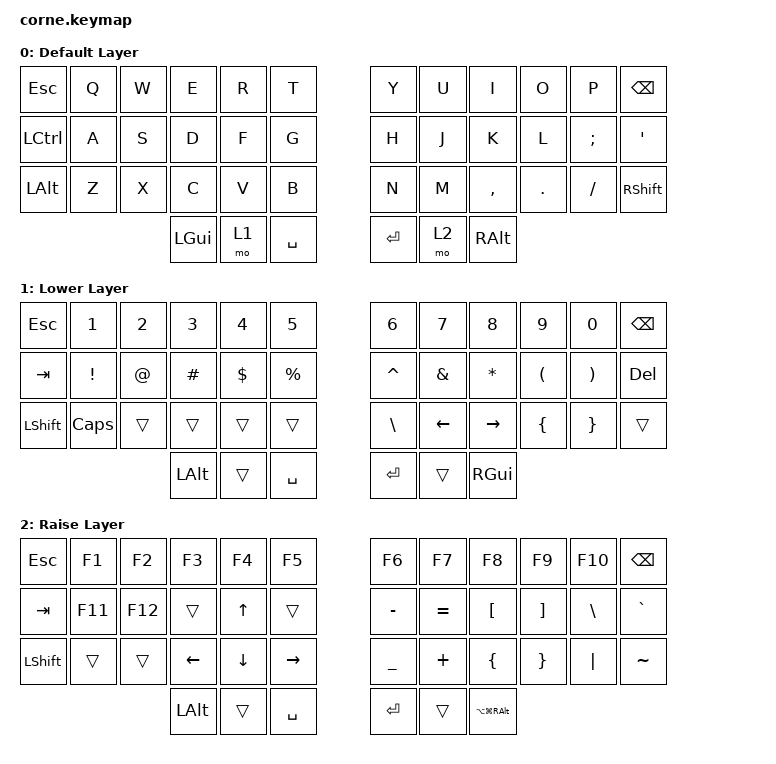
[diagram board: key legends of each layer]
/*
 * Copyright (c) 2020 The ZMK Contributors
 *
 * SPDX-License-Identifier: MIT
 */

#include <behaviors.dtsi>
#include <dt-bindings/zmk/keys.h>

/ {
    keymap {
        compatible = "zmk,keymap";

        default_layer {
            display-name = "Default Layer";

            // -----------------------------------------------------------------------------------------
            // |  TAB |  Q  |  W  |  E  |  R  |  T  |   |  Y  |  U   |  I  |  O  |  P  | BSPC |
            // | CTRL |  A  |  S  |  D  |  F  |  G  |   |  H  |  J   |  K  |  L  |  ;  |  '   |
            // | SHFT |  Z  |  X  |  C  |  V  |  B  |   |  N  |  M   |  ,  |  .  |  /  | ESC  |
            //                    | GUI | LWR | SPC |   | ENT | RSE  | ALT |

            bindings = <
&kp ESCAPE    &kp Q  &kp W  &kp E     &kp R  &kp T        &kp Y    &kp U  &kp I      &kp O    &kp P     &kp BSPC
&kp LCTRL     &kp A  &kp S  &kp D     &kp F  &kp G        &kp H    &kp J  &kp K      &kp L    &kp SEMI  &kp SQT
&kp LEFT_ALT  &kp Z  &kp X  &kp C     &kp V  &kp B        &kp N    &kp M  &kp COMMA  &kp DOT  &kp FSLH  &kp RIGHT_SHIFT
                            &kp LGUI  &mo 1  &kp SPACE    &kp RET  &mo 2  &kp RALT
            >;
        };

        lower_layer {
            display-name = "Lower Layer";

            // -----------------------------------------------------------------------------------------
            // |  TAB |  1  |  2  |  3  |  4  |  5  |   |  6  |  7  |  8  |  9  |  0  | BSPC |
            // | BTCLR| BT1 | BT2 | BT3 | BT4 | BT5 |   | LFT | DWN |  UP | RGT |     |      |
            // | SHFT |     |     |     |     |     |   |     |     |     |     |     |      |
            //                    | GUI |     | SPC |   | ENT |     | ALT |

            bindings = <
&kp ESCAPE  &kp N1           &kp N2       &kp N3        &kp N4      &kp N5         &kp N6         &kp N7          &kp N8           &kp N9          &kp N0                 &kp BSPC
&kp TAB     &kp EXCLAMATION  &kp AT_SIGN  &kp HASH      &kp DOLLAR  &kp PERCENT    &kp CARET      &kp AMPERSAND   &kp ASTERISK     &kp LPAR        &kp RIGHT_PARENTHESIS  &kp DEL
&kp LSHFT   &kp CAPSLOCK     &trans       &trans        &trans      &trans         &kp BACKSLASH  &kp LEFT_ARROW  &kp RIGHT_ARROW  &kp LEFT_BRACE  &kp RIGHT_BRACE        &trans
                                          &kp LEFT_ALT  &trans      &kp SPACE      &kp RET        &trans          &kp RIGHT_GUI
            >;
        };

        raise_layer {
            display-name = "Raise Layer";

            // -----------------------------------------------------------------------------------------
            // |  TAB |  !  |  @  |  #  |  $  |  %  |   |  ^  |  &  |  *  |  (  |  )  | BSPC |
            // | CTRL |     |     |     |     |     |   |  -  |  =  |  [  |  ]  |  \  |  `   |
            // | SHFT |     |     |     |     |     |   |  _  |  +  |  {  |  }  | "|" |  ~   |
            //                    | GUI |     | SPC |   | ENT |     | ALT |

            bindings = <
&kp ESCAPE  &kp F1   &kp F2   &kp F3          &kp F4          &kp F5             &kp F6     &kp F7     &kp F8            &kp F9    &kp F10   &kp BSPC
&kp TAB     &kp F11  &kp F12  &trans          &kp UP_ARROW    &trans             &kp MINUS  &kp EQUAL  &kp LBKT          &kp RBKT  &kp BSLH  &kp GRAVE
&kp LSHFT   &trans   &trans   &kp LEFT_ARROW  &kp DOWN_ARROW  &kp RIGHT_ARROW    &kp UNDER  &kp PLUS   &kp LBRC          &kp RBRC  &kp PIPE  &kp TILDE
                              &kp LEFT_ALT    &trans          &kp SPACE          &kp RET    &trans     &kp LA(LG(RALT))
            >;
        };
    };
};
